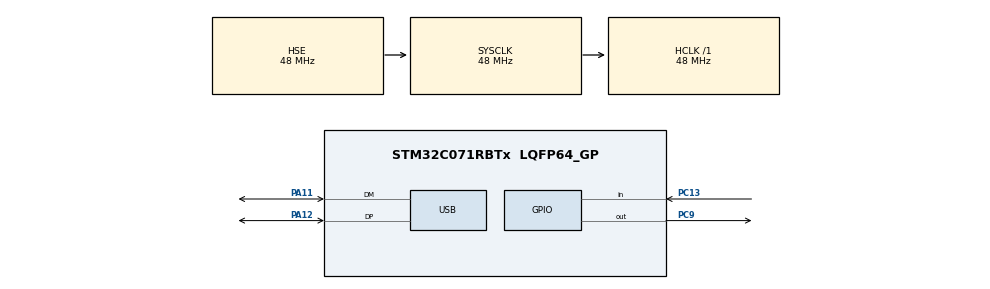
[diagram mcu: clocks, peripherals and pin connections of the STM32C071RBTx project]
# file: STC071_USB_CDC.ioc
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Mcu.Family=STM32C0
Mcu.Name=STM32C071RBTx
Mcu.Package=LQFP64_GP
NUCLEO-C071RB.BUTTON=1
NUCLEO-C071RB.Bsp_Common_DEMO=true
NUCLEO-C071RB.LD1=true
NUCLEO-C071RB.LD2=true
NUCLEO-C071RB.VCP=true
NVIC.EXTI4_15_IRQn=true\:0\:0\:false\:false\:true\:false\:true\:true
NVIC.USB_DRD_FS_IRQn=true\:0\:0\:false\:false\:true\:true\:true\:true
PA11\ [PA9].Mode=Device
PA11\ [PA9].Signal=USB_DM
PA12\ [PA10].Mode=Device
PA12\ [PA10].Signal=USB_DP
PA13.Mode=Serial_Wire
PA13.Signal=DEBUG_SWDIO
PA14-BOOT0.Mode=Serial_Wire
PA14-BOOT0.Signal=DEBUG_SWCLK
PA2.Signal=USART2_TX
PA3.Signal=USART2_RX
PC13.Signal=GPIO_Input
PC9.Signal=GPIO_Output
PF0-OSC_IN(PF0).Mode=HSE-External-Oscillator
PF0-OSC_IN(PF0).Signal=RCC_OSC_IN
PF1-OSC_OUT(PF1).Mode=HSE-External-Oscillator
PF1-OSC_OUT(PF1).Signal=RCC_OSC_OUT
ProjectManager.HeapSize=0x1000
ProjectManager.StackSize=0x1000
ProjectManager.TargetToolchain=EWARM V9.30
RCC.ADCFreq_Value=48000000
RCC.AHBFreq_Value=48000000
RCC.CortexFreq_Value=48000000
RCC.EXTERNAL_CLOCK_VALUE=12288000
RCC.HCLKFreq_Value=48000000
RCC.HSE_VALUE=48000000
RCC.HSI48_VALUE=48000000
RCC.HSI_VALUE=48000000
RCC.LSE_VALUE=32768
RCC.SYSCLKFreq_VALUE=48000000
RCC.SYSCLKSource=RCC_SYSCLKSOURCE_HSE
USB.VirtualMode=Device_Only
USBX.BSP.number=1
USBX.Core_System=1
USBX.REG_USBX_DEVICE_CON_CK=0
USBX.USBD_CDCACM_EPINCMD_ADDR=2
USBX.USBD_CDCACM_EPIN_ADDR=1
USBX.USBD_COMPOSITE_USE_IAD=1
USBX.USBX_DEVICE_SYS_SIZE=6*1024
USBX.UX_DEVICE_APP_MEM_POOL_SIZE_STANDALONE=10*1024
USBX.UX_DEVICE_CDC_ACM=1
USBX.UX_DEVICE_CLASS_CDC_ACM_WRITE_AUTO_ZLP=1
USBX.UX_Device_Controller=1
USBX.UX_Device_CoreStack=1
USBX.UX_SLAVE_REQUEST_DATA_MAX_LENGTH=512
USBX0.BSP.STBoard=false
USBX0.BSP.api=Unknown
USBX0.BSP.instance=USB
USBX0.BSP.ip=USB
USBX0.BSP.mode=Device_Only
USBX0.BSP.name=USB_Device
USBX0.BSP.solution=USB
VP_NUCLEO-C071RB_VS_BSP_COMMON.Mode=COMMON
VP_USBX_Core_System.Mode=Core_System
VP_USBX_UX\ Device\ CDC\ ACM\ Class_FS.Mode=UX_Device_class_CDC_ACM_FS
VP_USBX_UX\ Device\ Controller_FS.Mode=UX_Device_Controller_FS
VP_USBX_UX\ Device\ CoreStack_FS.Mode=UX_Device_CoreStack_FS
board=NUCLEO-C071RB

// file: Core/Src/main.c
/* USER CODE BEGIN Header */
/**
  ******************************************************************************
  * @file           : main.c
  * @brief          : Main program body
  ******************************************************************************
  * @attention
  *
  * Copyright (c) 2026 STMicroelectronics.
  * All rights reserved.
  *
  * This software is licensed under terms that can be found in the LICENSE file
  * in the root directory of this software component.
  * If no LICENSE file comes with this software, it is provided AS-IS.
  *
  ******************************************************************************
  */
/* USER CODE END Header */
#include "main.h"
#include "usb.h"
#include "app_usbx_device.h"
#include "gpio.h"

/* USER CODE BEGIN Includes */
#include "ux_device_cdc_acm.h"
/* USER CODE END Includes */

COM_InitTypeDef BspCOMInit;
__IO uint32_t BspButtonState = BUTTON_RELEASED;

/* USER CODE BEGIN PV */
volatile uint8_t tx_pending = 0;
const char software_version[] = "V0.0.1";

/* USER CODE END PV */

void SystemClock_Config(void);
/* USER CODE BEGIN PFP */
void init_array(void);
/* USER CODE END PFP */

int main(void)
{

  /* MCU Configuration--------------------------------------------------------*/

  /* Reset of all peripherals, Initializes the Flash interface and the Systick. */
  HAL_Init();

  /* Configure the system clock */
  SystemClock_Config();

  /* Initialize all configured peripherals */
  MX_GPIO_Init();
  MX_USBX_Device_Init();

  /* Initialize leds */
  BSP_LED_Init(LED_GREEN);
  BSP_LED_Init(LED_BLUE);

  /* Initialize USER push-button, will be used to trigger an interrupt each time it's pressed.*/
  BSP_PB_Init(BUTTON_USER, BUTTON_MODE_EXTI);

  /* Initialize COM1 port (115200, 8 bits (7-bit data + 1 stop bit), no parity */
  BspCOMInit.BaudRate   = 115200;
  BspCOMInit.WordLength = COM_WORDLENGTH_8B;
  BspCOMInit.StopBits   = COM_STOPBITS_1;
  BspCOMInit.Parity     = COM_PARITY_NONE;
  BspCOMInit.HwFlowCtl  = COM_HWCONTROL_NONE;
  if (BSP_COM_Init(COM1, &BspCOMInit) != BSP_ERROR_NONE)
  {
    Error_Handler();
  }

  /* USER CODE BEGIN BSP */

  /* -- Sample board code to send message over COM1 port ---- */

  printf("%s\r\n", software_version);
  printf("USB CDC ACM Example!\r\n");

  /* -- Sample board code to switch on leds ---- */
  BSP_LED_On(LED_GREEN);
  BSP_LED_On(LED_BLUE);

  /* USER CODE END BSP */

  /* Infinite loop */
  /* USER CODE BEGIN WHILE */
  init_array();

  while (1)
  {
    MX_USBX_Device_Process();
    /* -- Sample board code for User push-button in interrupt mode ---- */
    if (BspButtonState == BUTTON_PRESSED)
    {
      /* Update button state */
      BspButtonState = BUTTON_RELEASED;
      /* -- Sample board code to toggle leds ---- */
      BSP_LED_Toggle(LED_GREEN);
      BSP_LED_Toggle(LED_BLUE);

      /* ..... Perform your action ..... */
    }
    /* USER CODE END WHILE */

  }
}

void SystemClock_Config(void)
{
  RCC_OscInitTypeDef RCC_OscInitStruct = {0};
  RCC_ClkInitTypeDef RCC_ClkInitStruct = {0};

  __HAL_FLASH_SET_LATENCY(FLASH_LATENCY_1);

  /** Initializes the RCC Oscillators according to the specified parameters
  * in the RCC_OscInitTypeDef structure.
  */
  RCC_OscInitStruct.OscillatorType = RCC_OSCILLATORTYPE_HSE|RCC_OSCILLATORTYPE_HSI48;
  RCC_OscInitStruct.HSEState = RCC_HSE_ON;
  RCC_OscInitStruct.HSI48State = RCC_HSI48_ON;

  if (HAL_RCC_OscConfig(&RCC_OscInitStruct) != HAL_OK)
  {
    Error_Handler();
  }

  /** Initializes the CPU, AHB and APB buses clocks
  */
  RCC_ClkInitStruct.ClockType = RCC_CLOCKTYPE_HCLK|RCC_CLOCKTYPE_SYSCLK
                              |RCC_CLOCKTYPE_PCLK1;
  RCC_ClkInitStruct.SYSCLKSource = RCC_SYSCLKSOURCE_HSE;
  RCC_ClkInitStruct.SYSCLKDivider = RCC_SYSCLK_DIV1;
  RCC_ClkInitStruct.AHBCLKDivider = RCC_HCLK_DIV1;
  RCC_ClkInitStruct.APB1CLKDivider = RCC_APB1_DIV1;

  if (HAL_RCC_ClockConfig(&RCC_ClkInitStruct, FLASH_LATENCY_1) != HAL_OK)
  {
    Error_Handler();
  }
}

/* USER CODE BEGIN 4 */
void init_array(void)
{
  for (uint32_t i = 0; i < APP_TX_DATA_SIZE; i++)
  {
    UserTxBufferFS[i] = (uint8_t)(i & 0xFF); // Fill with incremental byte values
  }
}
/* USER CODE END 4 */

/**
  * @brief  BSP Push Button callback
  * @param  Button Specifies the pressed button
  * @retval None
  */
void BSP_PB_Callback(Button_TypeDef Button)
{
  if (Button == BUTTON_USER)
  {
    BspButtonState = BUTTON_PRESSED;
    tx_pending = 1;
  }
}

void Error_Handler(void)
{
  __disable_irq();
  while (1)
  {
  }
}
